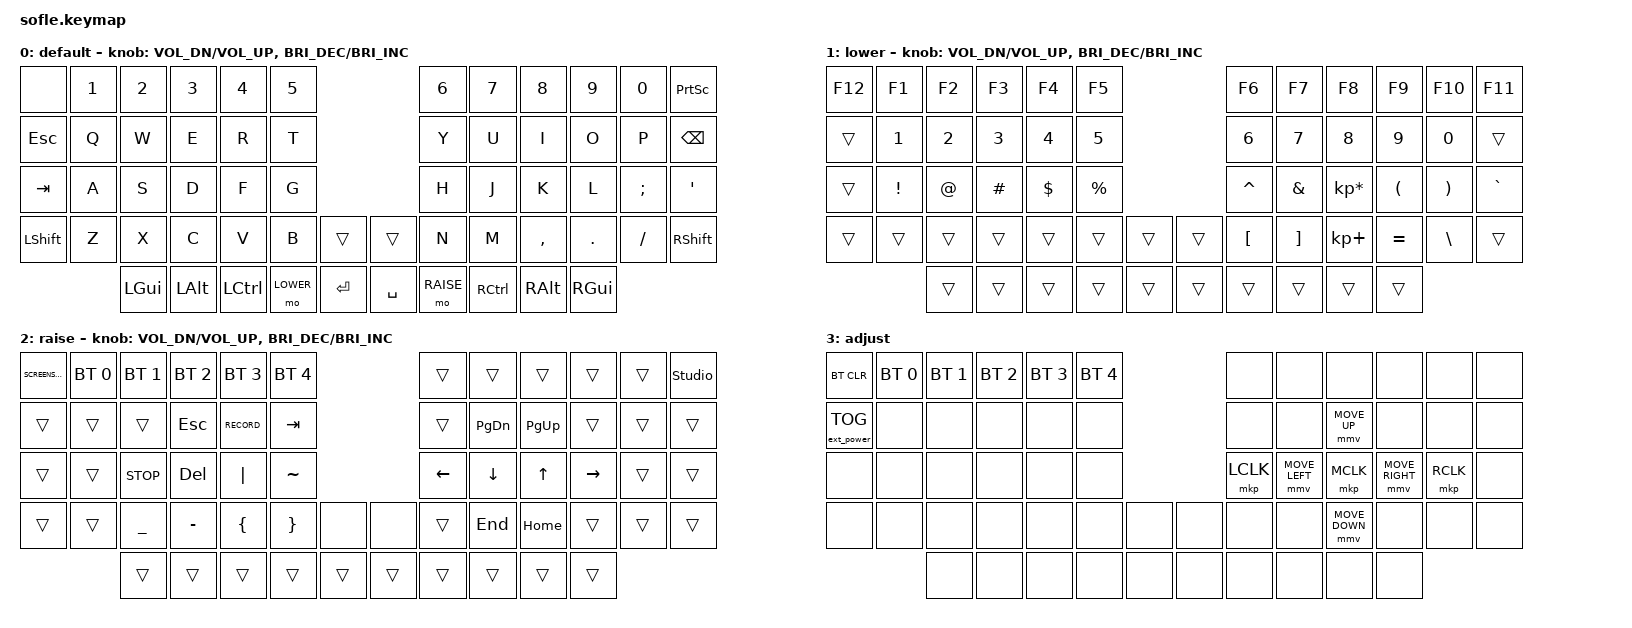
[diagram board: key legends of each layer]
/*
 * Copyright (c) 2020 The ZMK Contributors
 *
 * SPDX-License-Identifier: MIT
 */

#include <behaviors.dtsi>
#include <dt-bindings/zmk/bt.h>
#include <dt-bindings/zmk/ext_power.h>
#include <dt-bindings/zmk/keys.h>
#include <dt-bindings/zmk/pointing.h>

#define BASE 0
#define LOWER 1
#define RAISE 2
#define ADJUST 3

/ {
    // Activate ADJUST layer by pressing raise and lower

    conditional_layers {
        compatible = "zmk,conditional-layers";

        adjust_layer {
            if-layers = <LOWER RAISE>;
            then-layer = <ADJUST>;
        };
    };

    keymap {
        compatible = "zmk,keymap";

        default_layer {
            label = "default";

            // ------------------------------------------------------------------------------------------------------------
            // |   `   |  1  |  2  |  3   |  4   |  5   |                   |  6   |  7    |  8    |  9   |   0   |       |
            // |  ESC  |  Q  |  W  |  E   |  R   |  T   |                   |  Y   |  U    |  I    |  O   |   P   | BKSPC |
            // |  TAB  |  A  |  S  |  D   |  F   |  G   |                   |  H   |  J    |  K    |  L   |   ;   |   '   |
            // | SHIFT |  Z  |  X  |  C   |  V   |  B   |  MUTE  |  |       |  N   |  M    |  ,    |  .   |   /   | SHIFT |
            //               | GUI | ALT  | CTRL | LOWER|  ENTER |  | SPACE | RAISE| CTRL  | ALT   | GUI  |

            bindings = <
&none      &kp N1  &kp N2    &kp N3    &kp N4     &kp N5                           &kp N6     &kp N7     &kp N8     &kp N9    &kp N0    &kp PRINTSCREEN
&kp ESC    &kp Q   &kp W     &kp E     &kp R      &kp T                            &kp Y      &kp U      &kp I      &kp O     &kp P     &kp BSPC
&kp TAB    &kp A   &kp S     &kp D     &kp F      &kp G                            &kp H      &kp J      &kp K      &kp L     &kp SEMI  &kp SQT
&kp LSHFT  &kp Z   &kp X     &kp C     &kp V      &kp B      &trans     &trans     &kp N      &kp M      &kp COMMA  &kp DOT   &kp FSLH  &kp RSHFT
                   &kp LGUI  &kp LALT  &kp LCTRL  &mo LOWER  &kp RET    &kp SPACE  &mo RAISE  &kp RCTRL  &kp RALT   &kp RGUI
            >;

            sensor-bindings =
                <&inc_dec_kp C_VOL_DN C_VOL_UP>,
                <&inc_dec_kp C_BRIGHTNESS_DEC C_BRIGHTNESS_INC>;
        };

        lower_layer {
            label = "lower";

            // TODO: Some binds are waiting for shifted keycode support.
            // ------------------------------------------------------------------------------------------------------------
            // |       |  F1 |  F2 |  F3  |  F4  |  F5  |                   |  F6  |  F7   |  F8   |  F9  |  F10  |  F11  |
            // |   `   |  1  |  2  |  3   |  4   |  5   |                   |  6   |  7    |  8    |  9   |   0   |  F12  |
            // |       |  !  |  @  |  #   |  $   |  %   |                   |  ^   |  &    |  *    |  (   |   )   |   |   |
            // |       |  =  |  -  |  +   |  {   |  }   |        |  |       |  [   |  ]    |  ;    |  :   |   \   |       |
            //               |     |      |      |      |        |  |       |      |       |       |      |

            bindings = <
&kp F12  &kp F1    &kp F2  &kp F3    &kp F4        &kp F5                       &kp F6            &kp F7             &kp F8           &kp F9     &kp F10        &kp F11
&trans   &kp N1    &kp N2  &kp N3    &kp NUMBER_4  &kp N5                       &kp NUMBER_6      &kp N7             &kp N8           &kp N9     &kp N0         &trans
&trans   &kp EXCL  &kp AT  &kp HASH  &kp DLLR      &kp PRCNT                    &kp CARET         &kp AMPS           &kp KP_MULTIPLY  &kp LPAR   &kp RPAR       &kp GRAVE
&trans   &trans    &trans  &trans    &trans        &trans     &trans    &trans  &kp LEFT_BRACKET  &kp RIGHT_BRACKET  &kp KP_PLUS      &kp EQUAL  &kp BACKSLASH  &trans
                   &trans  &trans    &trans        &trans     &trans    &trans  &trans            &trans             &trans           &trans
            >;

            sensor-bindings =
                <&inc_dec_kp C_VOL_DN C_VOL_UP>,
                <&inc_dec_kp C_BRIGHTNESS_DEC C_BRIGHTNESS_INC>;
        };

        raise_layer {
            label = "raise";

            // ------------------------------------------------------------------------------------------------------------
            // | BTCLR | BT1  | BT2  |  BT3  |  BT4  |  BT5 |                |      |      |       |      |       |       |
            // |       | INS  | PSCR | GUI   |       |      |                | PGUP |      |   ^   |      |       |       |
            // |       | ALT  | CTRL | SHIFT |       | CAPS |                | PGDN |   <- |   v   |  ->  |  DEL  | BKSPC |
            // |       | UNDO | CUT  | COPY  | PASTE |      |      |  |      |      |      |       |      |       |       |
            //                |      |       |       |      |      |  |      |      |      |       |      |

            bindings = <
&kp K_SCREENSAVER  &bt BT_SEL 0  &bt BT_SEL 1  &bt BT_SEL 2  &bt BT_SEL 3    &bt BT_SEL 4                       &trans          &trans          &trans        &trans     &trans  &studio_unlock
&trans             &trans        &trans        &kp ESC       &kp C_RECORD    &kp TAB                            &trans          &kp PAGE_DOWN   &kp PAGE_UP   &trans     &trans  &trans
&trans             &trans        &kp K_STOP    &kp DELETE    &kp PIPE        &kp TILDE                          &kp LEFT_ARROW  &kp DOWN_ARROW  &kp UP_ARROW  &kp RIGHT  &trans  &trans
&trans             &trans        &kp UNDER     &kp MINUS     &kp LEFT_BRACE  &kp RIGHT_BRACE  &none     &none   &trans          &kp END         &kp HOME      &trans     &trans  &trans
                                 &trans        &trans        &trans          &trans           &trans    &trans  &trans          &trans          &trans        &trans
            >;

            sensor-bindings =
                <&inc_dec_kp C_VOL_DN C_VOL_UP>,
                <&inc_dec_kp C_BRIGHTNESS_DEC C_BRIGHTNESS_INC>;
        };

        adjust_layer {
            // ----------------------------------------------------------------------------------------------------------------------------
            // | BTCLR  |  BT1    |  BT2    |   BT3   |   BT4   |   BT5   |                  |      |      |       |      |       |       |
            // | EXTPWR | RGB_HUD | RGB_HUI | RGB_SAD | RGB_SAI | RGB_EFF |                  |      |      |       |      |       |       |
            // |        | RGB_BRD | RGB_BRI |         |         |         |                  |      |      |       |      |       |       |
            // |        |         |         |         |         |         | RGB_TOG | |      |      |      |       |      |       |       |
            //                    |         |         |         |         |         | |      |      |      |       |      |

            label = "adjust";
            bindings = <
&bt BT_CLR         &bt BT_SEL 0  &bt BT_SEL 1  &bt BT_SEL 2  &bt BT_SEL 3  &bt BT_SEL 4                  &none      &none           &none           &none            &none      &none
&ext_power EP_TOG  &none         &none         &none         &none         &none                         &none      &none           &mmv MOVE_UP    &none            &none      &none
&none              &none         &none         &none         &none         &none                         &mkp LCLK  &mmv MOVE_LEFT  &mkp MCLK       &mmv MOVE_RIGHT  &mkp RCLK  &none
&none              &none         &none         &none         &none         &none         &none    &none  &none      &none           &mmv MOVE_DOWN  &none            &none      &none
                                 &none         &none         &none         &none         &none    &none  &none      &none           &none           &none
            >;
        };
    };
};
